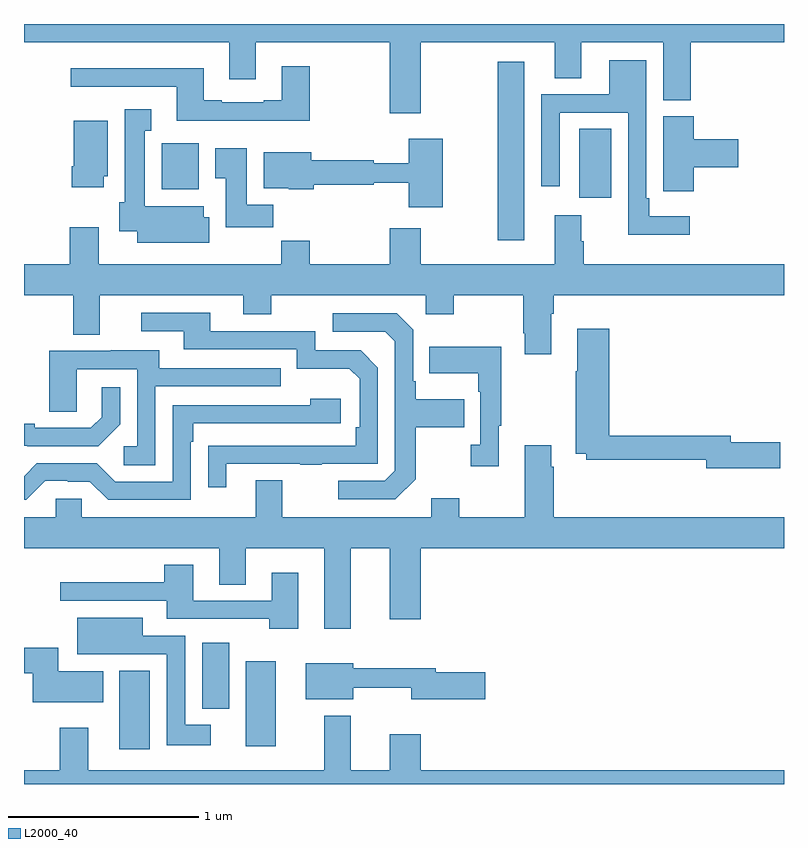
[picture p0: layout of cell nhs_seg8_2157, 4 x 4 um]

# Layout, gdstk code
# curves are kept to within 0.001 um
import gdstk
lib = gdstk.Library(unit=1e-6, precision=1e-09)
def R(c, l, rs):  # rectangles x0, y0, x1, y1
    for r in rs: c.add(gdstk.rectangle(r[:2], r[2:], *l))
def P(c, l, *ps):  # polygons
    for p in ps: c.add(gdstk.Polygon(p, *l))
L2000_40 = (2000, 40)

nhs_seg8_2157 = lib.new_cell('nhs_seg8_2157')
R(nhs_seg8_2157, L2000_40, [(247.502,1142.082,247.663,1142.497), (248.168,1142.1,248.326,1142.545), (247.937,1142.297,248.08,1142.644), (249.493,1144.761,249.634,1145.701), (249.923,1144.986,250.09,1145.348), (247.724,1145.03,247.921,1145.272)])
P(nhs_seg8_2157, L2000_40, [(249.088,1145.804),(249.794,1145.804),(249.794,1145.614),(249.934,1145.614),(249.934,1145.804),(250.364,1145.804),(250.364,1145.5),(250.508,1145.5),(250.508,1145.804),(251,1145.804),(251,1145.9),(247,1145.9),(247,1145.804),(248.081,1145.804),(248.081,1145.61),(248.221,1145.61),(248.221,1145.804),(248.924,1145.804),(248.924,1145.43),(249.088,1145.43)],
  [(250.504,1144.888),(250.291,1144.888),(250.291,1144.984),(250.275,1144.984),(250.275,1145.71),(250.079,1145.71),(250.079,1145.529),(249.723,1145.529),(249.723,1145.046),(249.819,1145.046),(249.819,1145.433),(250.179,1145.433),(250.179,1144.79),(250.504,1144.79)],
  [(248.505,1145.677),(248.357,1145.677),(248.357,1145.5),(248.261,1145.5),(248.261,1145.487),(248.041,1145.487),(248.041,1145.5),(247.945,1145.5),(247.945,1145.668),(247.245,1145.668),(247.245,1145.571),(247.805,1145.571),(247.805,1145.39),(248.505,1145.39)],
  [(247.975,1144.883),(247.945,1144.883),(247.945,1144.942),(247.636,1144.942),(247.636,1145.339),(247.669,1145.339),(247.669,1145.452),(247.529,1145.452),(247.529,1144.962),(247.502,1144.962),(247.502,1144.808),(247.595,1144.808),(247.595,1144.748),(247.975,1144.748)],
  [(250.526,1145.147),(250.759,1145.147),(250.759,1145.294),(250.526,1145.294),(250.526,1145.415),(250.364,1145.415),(250.364,1145.131),(250.365,1145.131),(250.365,1145.019),(250.526,1145.019)],
  [(247.42,1145.1),(247.441,1145.1),(247.441,1145.392),(247.262,1145.392),(247.262,1145.152),(247.25,1145.152),(247.25,1145.04),(247.42,1145.04)],
  [(249.204,1145.296),(249.026,1145.296),(249.026,1145.168),(248.842,1145.168),(248.842,1145.183),(248.512,1145.183),(248.512,1145.224),(248.261,1145.224),(248.261,1145.036),(248.394,1145.036),(248.394,1145.03),(248.525,1145.03),(248.525,1145.055),(248.842,1145.055),(248.842,1145.065),(249.026,1145.065),(249.026,1144.935),(249.204,1144.935)],
  [(248.312,1144.948),(248.173,1144.948),(248.173,1145.245),(248.006,1145.245),(248.006,1145.089),(248.063,1145.089),(248.063,1144.83),(248.312,1144.83)],
  [(249.775,1144.376),(249.788,1144.376),(249.788,1144.472),(251,1144.472),(251,1144.636),(249.947,1144.636),(249.947,1144.757),(249.934,1144.757),(249.934,1144.894),(249.794,1144.894),(249.794,1144.636),(249.088,1144.636),(249.088,1144.825),(248.924,1144.825),(248.924,1144.636),(248.505,1144.636),(248.505,1144.76),(248.353,1144.76),(248.353,1144.636),(247.393,1144.636),(247.393,1144.831),(247.241,1144.831),(247.241,1144.636),(247,1144.636),(247,1144.472),(247.259,1144.472),(247.259,1144.264),(247.399,1144.264),(247.399,1144.472),(248.153,1144.472),(248.153,1144.373),(248.301,1144.373),(248.301,1144.472),(249.114,1144.472),(249.114,1144.373),(249.261,1144.373),(249.261,1144.472),(249.628,1144.472),(249.628,1144.273),(249.635,1144.273),(249.635,1144.161),(249.775,1144.161)],
  [(248.065,1143.585),(248.455,1143.585),(248.455,1143.58),(248.567,1143.58),(248.567,1143.585),(248.862,1143.585),(248.862,1144.092),(248.772,1144.182),(248.532,1144.182),(248.532,1144.284),(247.981,1144.284),(247.981,1144.38),(247.617,1144.38),(247.617,1144.284),(247.841,1144.284),(247.841,1144.188),(248.436,1144.188),(248.436,1144.085),(248.713,1144.085),(248.766,1144.032),(248.766,1143.778),(248.746,1143.778),(248.746,1143.681),(247.969,1143.68),(247.969,1143.462),(248.065,1143.462)],
  [(249.061,1143.505),(249.061,1143.778),(249.317,1143.778),(249.317,1143.925),(249.061,1143.925),(249.061,1144.021),(249.048,1144.021),(249.048,1144.29),(248.961,1144.377),(248.625,1144.377),(248.625,1144.281),(248.901,1144.281),(248.952,1144.23),(248.952,1143.549),(248.898,1143.495),(248.655,1143.495),(248.655,1143.399),(248.955,1143.399)],
  [(250.981,1143.698),(250.72,1143.698),(250.72,1143.734),(250.079,1143.734),(250.079,1144.297),(249.911,1144.297),(249.911,1144.073),(249.904,1144.073),(249.904,1143.638),(249.96,1143.638),(249.96,1143.606),(250.592,1143.606),(250.592,1143.563),(250.981,1143.563)],
  [(249.499,1143.785),(249.511,1143.785),(249.511,1144.201),(249.133,1144.201),(249.133,1144.061),(249.39,1144.061),(249.39,1143.965),(249.402,1143.965),(249.402,1143.686),(249.351,1143.686),(249.351,1143.573),(249.499,1143.573)],
  [(247.692,1143.993),(248.351,1143.993),(248.351,1144.089),(247.711,1144.089),(247.711,1144.183),(247.457,1144.183),(247.457,1144.179),(247.133,1144.179),(247.133,1143.859),(247.278,1143.859),(247.278,1144.083),(247.596,1144.083),(247.596,1143.678),(247.524,1143.678),(247.524,1143.577),(247.692,1143.577)],
  [(247.506,1143.794),(247.506,1143.988),(247.409,1143.988),(247.409,1143.831),(247.352,1143.774),(247.057,1143.774),(247.057,1143.797),(247,1143.797),(247,1143.681),(247.018,1143.681),(247.018,1143.678),(247.39,1143.678)],
  [(247.113,1143.495),(247.229,1143.495),(247.229,1143.492),(247.347,1143.492),(247.443,1143.396),(247.878,1143.396),(247.878,1143.701),(247.891,1143.701),(247.891,1143.798),(248.668,1143.798),(248.668,1143.928),(248.507,1143.928),(248.507,1143.894),(247.782,1143.894),(247.782,1143.492),(247.479,1143.492),(247.383,1143.588),(247.068,1143.588),(247,1143.52),(247,1143.395),(247.013,1143.395)],
  [(248.719,1143.14),(248.924,1143.14),(248.924,1142.766),(249.088,1142.766),(249.088,1143.14),(251,1143.14),(251,1143.304),(249.788,1143.304),(249.788,1143.569),(249.775,1143.569),(249.775,1143.682),(249.635,1143.682),(249.635,1143.304),(249.291,1143.304),(249.291,1143.403),(249.143,1143.403),(249.143,1143.304),(248.359,1143.304),(248.359,1143.499),(248.219,1143.499),(248.219,1143.304),(247.305,1143.304),(247.305,1143.402),(247.167,1143.402),(247.167,1143.304),(247,1143.304),(247,1143.14),(248.027,1143.14),(248.027,1142.95),(248.167,1142.95),(248.167,1143.14),(248.579,1143.14),(248.579,1142.718),(248.719,1142.718)],
  [(248.443,1143.013),(248.303,1143.013),(248.303,1142.865),(247.891,1142.865),(247.891,1143.055),(247.739,1143.055),(247.739,1142.962),(247.191,1142.962),(247.191,1142.865),(247.751,1142.865),(247.751,1142.769),(248.291,1142.769),(248.291,1142.718),(248.443,1142.718)],
  [(247.984,1142.212),(247.848,1142.212),(247.848,1142.679),(247.624,1142.679),(247.624,1142.776),(247.28,1142.776),(247.28,1142.582),(247.506,1142.582),(247.506,1142.583),(247.752,1142.583),(247.752,1142.105),(247.984,1142.105)],
  [(247.417,1142.494),(247.18,1142.494),(247.18,1142.618),(247,1142.618),(247,1142.483),(247.046,1142.483),(247.046,1142.33),(247.417,1142.33)],
  [(248.734,1142.407),(249.038,1142.407),(249.038,1142.347),(249.427,1142.347),(249.427,1142.489),(249.166,1142.489),(249.166,1142.51),(248.734,1142.51),(248.734,1142.536),(248.483,1142.536),(248.483,1142.345),(248.734,1142.345)],
  [(251,1141.972),(249.088,1141.972),(249.088,1142.161),(248.924,1142.161),(248.924,1141.972),(248.719,1141.972),(248.719,1142.26),(248.579,1142.26),(248.579,1141.972),(247.339,1141.972),(247.339,1142.197),(247.187,1142.197),(247.187,1141.972),(247,1141.972),(247,1141.9),(251,1141.9)])

lib.write_gds('nhs_seg8_2157.gds')
